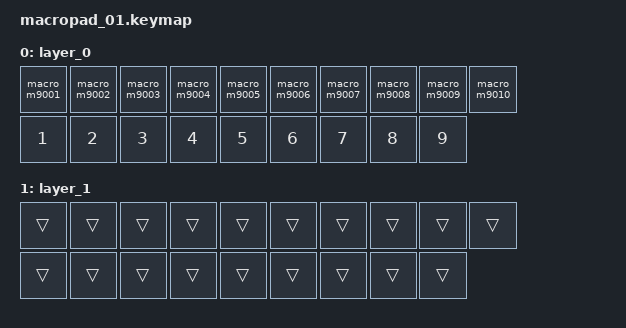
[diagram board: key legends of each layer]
#include <behaviors.dtsi>
#include <dt-bindings/zmk/keys.h>

/ {
    combos { compatible = "zmk,combos"; };

    macros {
        macro_m9001: macro_m9001 {
            compatible = "zmk,behavior-macro";
            #binding-cells = <0>;
            bindings = <&none &kp M &kp N9 &kp N0 &kp N0 &kp N1 &kp RET>;
            label = "MACRO_M9001";
        };

        macro_m9002: macro_m9002 {
            compatible = "zmk,behavior-macro";
            #binding-cells = <0>;
            bindings = <&none &kp M &kp N9 &kp N0 &kp N0 &kp N2 &kp RET>;
            label = "MACRO_M9002";
        };

        macro_m9003: macro_m9003 {
            compatible = "zmk,behavior-macro";
            #binding-cells = <0>;
            bindings = <&none &kp M &kp N9 &kp N0 &kp N0 &kp N3 &kp RET>;
            label = "MACRO_M9003";
        };

        macro_m9004: macro_m9004 {
            compatible = "zmk,behavior-macro";
            #binding-cells = <0>;
            bindings = <&none &kp M &kp N9 &kp N0 &kp N0 &kp N4 &kp RET>;
            label = "MACRO_M9004";
        };

        macro_m9005: macro_m9005 {
            compatible = "zmk,behavior-macro";
            #binding-cells = <0>;
            bindings = <&none &kp M &kp N9 &kp N0 &kp N0 &kp N5 &kp RET>;
            label = "MACRO_M9005";
        };

        macro_m9006: macro_m9006 {
            compatible = "zmk,behavior-macro";
            #binding-cells = <0>;
            bindings = <&none &kp M &kp N9 &kp N0 &kp N0 &kp N6 &kp RET>;
            label = "MACRO_M9006";
        };

        macro_m9007: macro_m9007 {
            compatible = "zmk,behavior-macro";
            #binding-cells = <0>;
            bindings = <&none &kp M &kp N9 &kp N0 &kp N0 &kp N7 &kp RET>;
            label = "MACRO_M9007";
        };

        macro_m9008: macro_m9008 {
            compatible = "zmk,behavior-macro";
            #binding-cells = <0>;
            bindings = <&none &kp M &kp N9 &kp N0 &kp N0 &kp N8 &kp RET>;
            label = "MACRO_M9008";
        };

        macro_m9009: macro_m9009 {
            compatible = "zmk,behavior-macro";
            #binding-cells = <0>;
            bindings = <&none &kp M &kp N9 &kp N0 &kp N0 &kp N9 &kp RET>;
            label = "MACRO_M9009";
        };

        macro_m9010: macro_m9010 {
            compatible = "zmk,behavior-macro";
            #binding-cells = <0>;
            bindings = <&none &kp M &kp N9 &kp N0 &kp N1 &kp N9 &kp RET>;
            label = "MACRO_M9010";
        };
    };

    keymap {
        compatible = "zmk,keymap";

        layer_0 {
            bindings = <
&macro_m9001  &macro_m9002  &macro_m9003  &macro_m9004  &macro_m9005  &macro_m9006    &macro_m9007  &macro_m9008  &macro_m9009  &macro_m9010
&kp N1        &kp N2        &kp N3        &kp N4        &kp N5        &kp N6          &kp N7        &kp N8        &kp N9
            >;
        };

        layer_1 {
            bindings = <
&trans  &trans  &trans  &trans  &trans  &trans    &trans  &trans  &trans  &trans
&trans  &trans  &trans  &trans  &trans  &trans    &trans  &trans  &trans
            >;
        };
    };
};
